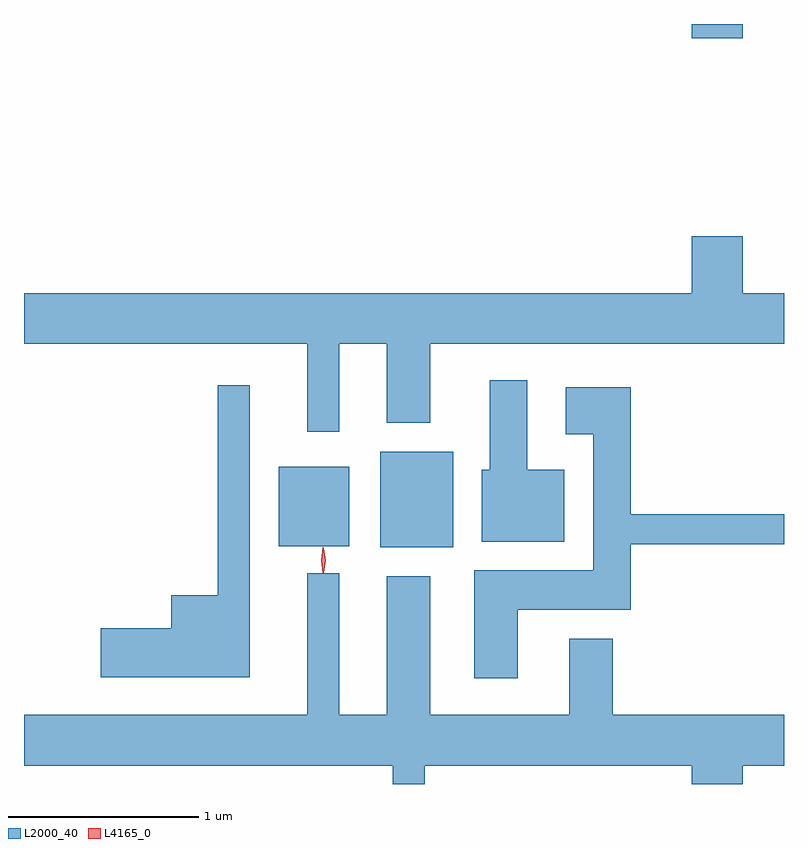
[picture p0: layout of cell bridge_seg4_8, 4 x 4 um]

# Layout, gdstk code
import gdstk
lib = gdstk.Library(unit=1e-6, precision=1e-09)
def R(c, l, rs):  # rectangles x0, y0, x1, y1
    for r in rs: c.add(gdstk.rectangle(r[:2], r[2:], *l))
def P(c, l, *ps):  # polygons
    for p in ps: c.add(gdstk.Polygon(p, *l))
L2000_40 = (2000, 40)
L4165_0 = (4165, 0)

bridge_seg4_8 = lib.new_cell('bridge_seg4_8')
R(bridge_seg4_8, L2000_40, [(1252.396,1382.466,1252.779,1382.969), (1251.861,1382.471,1252.234,1382.889), (1254.036,1385.146,1254.304,1385.22)])
P(bridge_seg4_8, L2000_40, [(1252.179,1383.536),(1252.431,1383.536),(1252.431,1383.121),(1252.659,1383.121),(1252.659,1383.536),(1254.521,1383.536),(1254.521,1383.804),(1254.304,1383.804),(1254.304,1384.104),(1254.036,1384.104),(1254.036,1383.804),(1250.521,1383.804),(1250.521,1383.536),(1252.011,1383.536),(1252.011,1383.073),(1252.179,1383.073)],
  [(1253.364,1382.874),(1253.169,1382.874),(1253.169,1383.344),(1252.971,1383.344),(1252.971,1382.874),(1252.931,1382.874),(1252.931,1382.496),(1253.364,1382.496)],
  [(1251.709,1383.318),(1251.541,1383.318),(1251.541,1382.214),(1251.296,1382.214),(1251.296,1382.039),(1250.926,1382.039),(1250.926,1381.781),(1251.709,1381.781)],
  [(1253.119,1382.136),(1253.714,1382.136),(1253.714,1382.481),(1254.521,1382.481),(1254.521,1382.639),(1253.714,1382.639),(1253.714,1383.309),(1253.371,1383.309),(1253.371,1383.061),(1253.516,1383.061),(1253.516,1382.344),(1252.891,1382.344),(1252.891,1381.776),(1253.119,1381.776)],
  [(1252.629,1381.316),(1254.036,1381.316),(1254.036,1381.22),(1254.304,1381.22),(1254.304,1381.316),(1254.521,1381.316),(1254.521,1381.584),(1253.619,1381.584),(1253.619,1381.984),(1253.391,1381.984),(1253.391,1381.584),(1252.659,1381.584),(1252.659,1382.314),(1252.431,1382.314),(1252.431,1381.584),(1252.179,1381.584),(1252.179,1382.328),(1252.011,1382.328),(1252.011,1381.584),(1250.521,1381.584),(1250.521,1381.316),(1252.461,1381.316),(1252.461,1381.22),(1252.629,1381.22)])
P(bridge_seg4_8, L4165_0, [(1252.094,1382.33),(1252.085,1382.398),(1252.094,1382.466),(1252.095,1382.466),(1252.096,1382.466),(1252.105,1382.398),(1252.096,1382.33),(1252.095,1382.33)],
  [(1252.097,1382.333),(1252.088,1382.397),(1252.097,1382.462),(1252.098,1382.462),(1252.098,1382.462),(1252.108,1382.397),(1252.098,1382.333),(1252.098,1382.333)])

lib.write_gds('bridge_seg4_8.gds')
